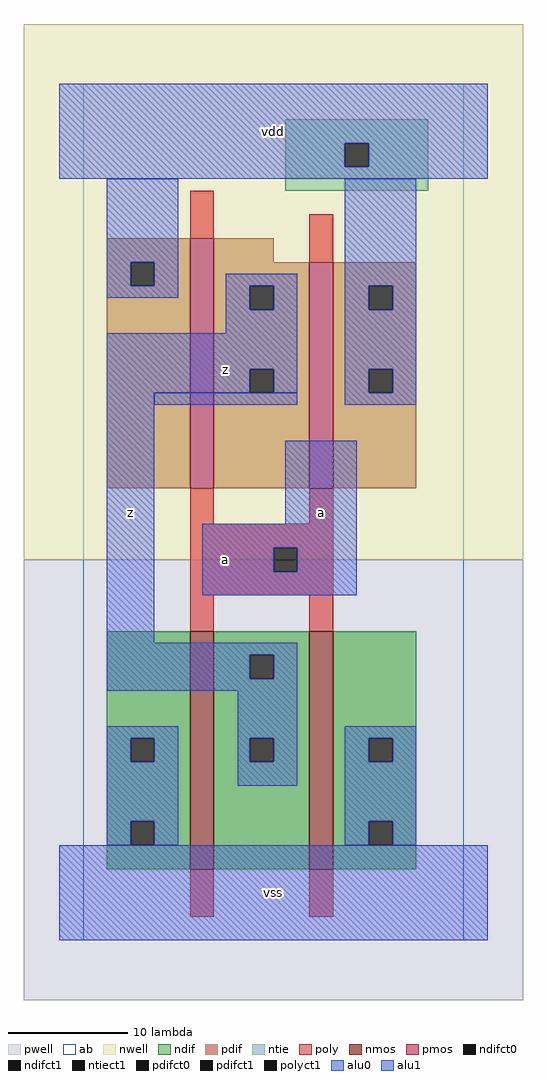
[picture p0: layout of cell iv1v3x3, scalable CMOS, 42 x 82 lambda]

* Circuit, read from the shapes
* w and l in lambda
.subckt iv1v3x3 a vdd vss z
M1 z a vss VSUBS nfet w=20 l=2 m=2
M2 z a vdd vdd pfet w=21 l=2
M3 vdd a z vdd pfet w=19 l=2
.ends

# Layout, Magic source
magic
tech scmos
<< ab >>
rect 0 0 32 72
<< nwell >>
rect -5 32 37 77
<< pwell >>
rect -5 -5 37 32
<< poly >>
rect 9 59 11 63
rect 19 57 21 61
rect 9 35 11 38
rect 19 35 21 38
rect 9 33 21 35
rect 9 31 16 33
rect 18 31 21 33
rect 9 29 21 31
rect 9 26 11 29
rect 19 26 21 29
rect 9 2 11 6
rect 19 2 21 6
<< ndif >>
rect 2 17 9 26
rect 2 15 4 17
rect 6 15 9 17
rect 2 10 9 15
rect 2 8 4 10
rect 6 8 9 10
rect 2 6 9 8
rect 11 24 19 26
rect 11 22 14 24
rect 16 22 19 24
rect 11 17 19 22
rect 11 15 14 17
rect 16 15 19 17
rect 11 6 19 15
rect 21 17 28 26
rect 21 15 24 17
rect 26 15 28 17
rect 21 10 28 15
rect 21 8 24 10
rect 26 8 28 10
rect 21 6 28 8
<< pdif >>
rect 2 57 9 59
rect 2 55 4 57
rect 6 55 9 57
rect 2 38 9 55
rect 11 57 16 59
rect 11 55 19 57
rect 11 53 14 55
rect 16 53 19 55
rect 11 48 19 53
rect 11 46 14 48
rect 16 46 19 48
rect 11 38 19 46
rect 21 55 28 57
rect 21 53 24 55
rect 26 53 28 55
rect 21 48 28 53
rect 21 46 24 48
rect 26 46 28 48
rect 21 38 28 46
<< alu1 >>
rect -2 67 34 72
rect -2 65 22 67
rect 24 65 34 67
rect -2 64 34 65
rect 12 55 18 56
rect 12 53 14 55
rect 16 53 18 55
rect 12 51 18 53
rect 2 48 18 51
rect 2 46 14 48
rect 16 46 18 48
rect 2 25 6 46
rect 17 35 23 42
rect 10 33 23 35
rect 10 31 16 33
rect 18 31 23 33
rect 10 29 23 31
rect 2 24 18 25
rect 2 22 14 24
rect 16 22 18 24
rect 2 21 18 22
rect 13 17 18 21
rect 13 15 14 17
rect 16 15 18 17
rect 13 13 18 15
rect -2 0 34 8
<< ntie >>
rect 17 67 29 69
rect 17 65 22 67
rect 24 65 29 67
rect 17 63 29 65
<< nmos >>
rect 9 6 11 26
rect 19 6 21 26
<< pmos >>
rect 9 38 11 59
rect 19 38 21 57
<< polyct1 >>
rect 16 31 18 33
<< ndifct0 >>
rect 4 15 6 17
rect 4 8 6 10
rect 24 15 26 17
rect 24 8 26 10
<< ndifct1 >>
rect 14 22 16 24
rect 14 15 16 17
<< ntiect1 >>
rect 22 65 24 67
<< pdifct0 >>
rect 4 55 6 57
rect 24 53 26 55
rect 24 46 26 48
<< pdifct1 >>
rect 14 53 16 55
rect 14 46 16 48
<< alu0 >>
rect 2 57 8 64
rect 2 55 4 57
rect 6 55 8 57
rect 2 54 8 55
rect 6 45 18 46
rect 22 55 28 64
rect 22 53 24 55
rect 26 53 28 55
rect 22 48 28 53
rect 22 46 24 48
rect 26 46 28 48
rect 22 45 28 46
rect 2 17 8 18
rect 2 15 4 17
rect 6 15 8 17
rect 2 10 8 15
rect 22 17 28 18
rect 22 15 24 17
rect 26 15 28 17
rect 2 8 4 10
rect 6 8 8 10
rect 22 10 28 15
rect 22 8 24 10
rect 26 8 28 10
<< labels >>
rlabel alu1 4 36 4 36 6 z
rlabel alu1 12 32 12 32 6 a
rlabel alu1 12 48 12 48 6 z
rlabel alu1 16 4 16 4 6 vss
rlabel alu1 20 36 20 36 6 a
rlabel alu1 16 68 16 68 6 vdd
<< end >>
